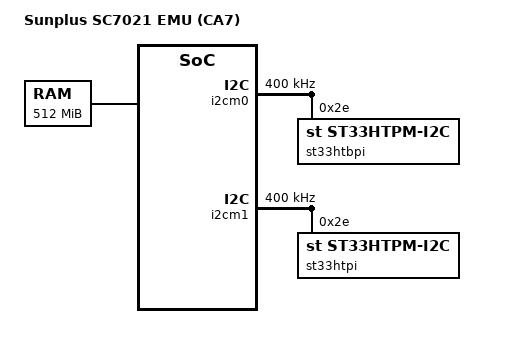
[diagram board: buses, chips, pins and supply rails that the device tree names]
/dts-v1/;

#include "pentagram-sp7021-achip.dtsi"

#include <dt-bindings/interrupt-controller/arm-gic.h>

/ {
	model = "Sunplus SC7021 EMU (CA7)";
	compatible = "sunplus,sc7021-achip";

	chosen {
		bootargs = "console=ttyS0,115200 root=/dev/ram rw loglevel=8 user_debug=255 earlyprintk";
	};

	memory {
		reg = <0x00000000 0x20000000>; /* 512MB */
	};
};

&i2cm0{
 pinctrl-names = "default";
 pinctrl-0 = <&i2cm0_pins>;
 status = "okay";
	/* clock-frequency = <100000>; */
	clock-frequency = <400000>;
	st33htbpi: st33htbpi@0{
		compatible = "st,st33htpm-i2c";
		reg = <0x2E>;
		status = "okay";
	};
};

&i2cm1{
 pinctrl-names = "default";
 pinctrl-0 = <&i2cm1_pins>;
 status = "okay";
	/* clock-frequency = <100000>; */
	clock-frequency = <400000>;
	st33htpi: st33htpi@0{
		compatible = "st,st33htpm-i2c";
		reg = <0x2E>;
		status = "okay";
	};
};

&pctl {
 i2cm0_pins: i2cm0_pins {                                   
  sppctl,pins = <                                            
       SP7021_IOPAD(8,SP7021_PCTL_G_PMUX,MUXF_I2CM0_CK,0) 
       SP7021_IOPAD(9,SP7021_PCTL_G_PMUX,MUXF_I2CM0_DAT,0)        
  >;                                                        
 }; 
 
 i2cm1_pins: i2cm1_pins {                                   
  sppctl,pins = <                                            
       SP7021_IOPAD(10,SP7021_PCTL_G_PMUX,MUXF_I2CM1_CK,0) 
       SP7021_IOPAD(11,SP7021_PCTL_G_PMUX,MUXF_I2CM1_DAT,0)        
  >;                                                        
 }; 
 }; 
